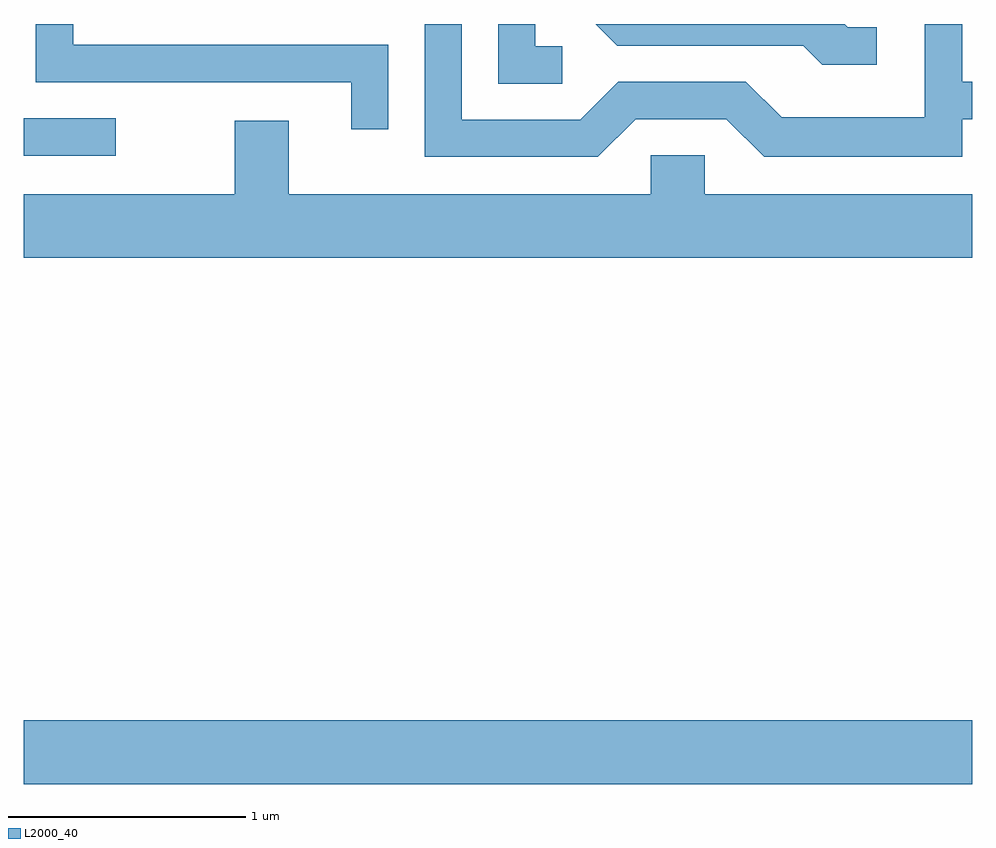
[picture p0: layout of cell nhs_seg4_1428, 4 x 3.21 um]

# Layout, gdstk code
import gdstk
lib = gdstk.Library(unit=1e-6, precision=1e-09)
def R(c, l, rs):  # rectangles x0, y0, x1, y1
    for r in rs: c.add(gdstk.rectangle(r[:2], r[2:], *l))
def P(c, l, *ps):  # polygons
    for p in ps: c.add(gdstk.Polygon(p, *l))
L2000_40 = (2000, 40)

nhs_seg4_1428 = lib.new_cell('nhs_seg4_1428')
R(nhs_seg4_1428, L2000_40, [(227.611,1254.776,231.611,1255.044), (227.611,1257.426,227.998,1257.584)])
P(nhs_seg4_1428, L2000_40, [(229.883,1257.889),(229.769,1257.889),(229.769,1257.982),(229.611,1257.982),(229.611,1257.731),(229.883,1257.731)],
  [(230.192,1257.581),(230.574,1257.581),(230.734,1257.421),(231.569,1257.421),(231.569,1257.581),(231.611,1257.581),(231.611,1257.739),(231.569,1257.739),(231.569,1257.982),(231.411,1257.982),(231.411,1257.589),(230.807,1257.589),(230.657,1257.739),(230.119,1257.739),(229.959,1257.579),(229.459,1257.579),(229.459,1257.982),(229.301,1257.982),(229.301,1257.421),(230.032,1257.421)],
  [(231.208,1257.969),(231.087,1257.969),(231.074,1257.982),(230.023,1257.982),(230.114,1257.891),(230.899,1257.891),(230.979,1257.811),(231.208,1257.811)],
  [(229.149,1257.894),(227.819,1257.894),(227.819,1257.982),(227.661,1257.982),(227.661,1257.736),(228.991,1257.736),(228.991,1257.538),(229.149,1257.538)],
  [(231.611,1257.264),(230.484,1257.264),(230.484,1257.429),(230.256,1257.429),(230.256,1257.264),(228.729,1257.264),(228.729,1257.574),(228.501,1257.574),(228.501,1257.264),(227.611,1257.264),(227.611,1256.996),(231.611,1256.996)])

lib.write_gds('nhs_seg4_1428.gds')
